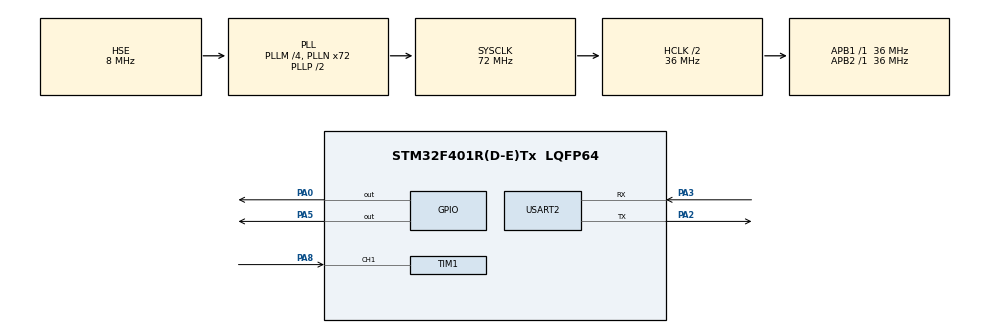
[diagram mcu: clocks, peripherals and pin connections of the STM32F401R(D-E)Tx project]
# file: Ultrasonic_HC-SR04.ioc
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Mcu.Family=STM32F4
Mcu.Name=STM32F401R(D-E)Tx
Mcu.Package=LQFP64
NVIC.PriorityGroup=NVIC_PRIORITYGROUP_4
NVIC.TIM1_CC_IRQn=true\:0\:0\:false\:false\:true\:true\:true
PA0-WKUP.Signal=GPIO_Output
PA13.Mode=Serial_Wire
PA13.Signal=SYS_JTMS-SWDIO
PA14.Mode=Serial_Wire
PA14.Signal=SYS_JTCK-SWCLK
PA2.Mode=Asynchronous
PA2.Signal=USART2_TX
PA3.Mode=Asynchronous
PA3.Signal=USART2_RX
PA5.Signal=GPIO_Output
PA8.Signal=S_TIM1_CH1
PH0\ -\ OSC_IN.Mode=HSE-External-Clock-Source
PH0\ -\ OSC_IN.Signal=RCC_OSC_IN
PH1\ -\ OSC_OUT.Mode=HSE-External-Clock-Source
PH1\ -\ OSC_OUT.Signal=RCC_OSC_OUT
ProjectManager.HeapSize=0x200
ProjectManager.StackSize=0x400
ProjectManager.TargetToolchain=STM32CubeIDE
RCC.48MHZClocksFreq_Value=36000000
RCC.AHBCLKDivider=RCC_SYSCLK_DIV2
RCC.AHBFreq_Value=36000000
RCC.APB1Freq_Value=36000000
RCC.APB1TimFreq_Value=36000000
RCC.APB2Freq_Value=36000000
RCC.APB2TimFreq_Value=36000000
RCC.CortexFreq_Value=36000000
RCC.HCLKFreq_Value=36000000
RCC.HSE_VALUE=8000000
RCC.HSI_VALUE=16000000
RCC.LSE_VALUE=32768
RCC.PLLM=4
RCC.PLLN=72
RCC.PLLSourceVirtual=RCC_PLLSOURCE_HSE
RCC.SYSCLKFreq_VALUE=72000000
RCC.SYSCLKSource=RCC_SYSCLKSOURCE_PLLCLK
RCC.VCOOutputFreq_Value=144000000
SH.S_TIM1_CH1.0=TIM1_CH1,Input_Capture1_from_TI1
TIM1.Channel-Input_Capture1_from_TI1=TIM_CHANNEL_1
TIM1.Prescaler=36
USART2.VirtualMode=VM_ASYNC
board=custom

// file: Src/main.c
/* USER CODE BEGIN Header */
/**
  ******************************************************************************
  * @file           : main.c
  * @brief          : Main program body
  ******************************************************************************
  * @attention
  *
  * <h2><center>&copy; Copyright (c) 2021 STMicroelectronics.
  * All rights reserved.</center></h2>
  *
  * This software component is licensed by ST under BSD 3-Clause license,
  * the "License"; You may not use this file except in compliance with the
  * License. You may obtain a copy of the License at:
  *                        opensource.org/licenses/BSD-3-Clause
  *
  ******************************************************************************
  */
/* USER CODE END Header */
#include "main.h"

TIM_HandleTypeDef htim1;

UART_HandleTypeDef huart2;

void SystemClock_Config(void);
static void MX_GPIO_Init(void);
static void MX_TIM1_Init(void);
static void MX_USART2_UART_Init(void);

/* USER CODE BEGIN 0 */
uint32_t IC_Val1 = 0;
uint32_t IC_Val2 = 0;
uint32_t Difference = 0;
uint8_t Is_First_Captured = 0;  // is the first value captured ?
uint8_t Distance  = 0;

#define TRIG_PIN GPIO_PIN_0
#define TRIG_PORT GPIOA

void delay(uint16_t us){
	__HAL_TIM_SET_COUNTER(&htim1,0);
	while(__HAL_TIM_GET_COUNTER(&htim1)< us);
}

// Let's write the callback function

void HAL_TIM_IC_CaptureCallback(TIM_HandleTypeDef *htim)
{
	if (htim->Channel == HAL_TIM_ACTIVE_CHANNEL_1)  // if the interrupt source is channel1
	{
		if (Is_First_Captured==0) // if the first value is not captured
		{
			IC_Val1 = HAL_TIM_ReadCapturedValue(htim, TIM_CHANNEL_1); // read the first value
			Is_First_Captured = 1;  // set the first captured as true
			// Now change the polarity to falling edge
			__HAL_TIM_SET_CAPTUREPOLARITY(htim, TIM_CHANNEL_1, TIM_INPUTCHANNELPOLARITY_FALLING);
		}

		else if (Is_First_Captured==1)   // if the first is already captured
		{
			IC_Val2 = HAL_TIM_ReadCapturedValue(htim, TIM_CHANNEL_1);  // read second value
			__HAL_TIM_SET_COUNTER(htim, 0);  // reset the counter

			if (IC_Val2 > IC_Val1)
			{
				Difference = IC_Val2-IC_Val1;
			}

			else if (IC_Val1 > IC_Val2)
			{
				Difference = (0xffff - IC_Val1) + IC_Val2;
			}

			Distance = Difference * .034/2;
			Is_First_Captured = 0; // set it back to false

			// set polarity to rising edge
			__HAL_TIM_SET_CAPTUREPOLARITY(htim, TIM_CHANNEL_1, TIM_INPUTCHANNELPOLARITY_RISING);
			__HAL_TIM_DISABLE_IT(&htim1, TIM_IT_CC1);
		}
	}
}

void HCSR04_Read (void)
{
	HAL_GPIO_WritePin(TRIG_PORT, TRIG_PIN, GPIO_PIN_SET);  // pull the TRIG pin HIGH
	delay(10);  // wait for 10 us
	HAL_GPIO_WritePin(TRIG_PORT, TRIG_PIN, GPIO_PIN_RESET);  // pull the TRIG pin low

	__HAL_TIM_ENABLE_IT(&htim1, TIM_IT_CC1);
}

uint32_t buff[10]={0};

/* USER CODE END 0 */

int main(void)
{

  /* MCU Configuration--------------------------------------------------------*/

  /* Reset of all peripherals, Initializes the Flash interface and the Systick. */
  HAL_Init();

  /* Configure the system clock */
  SystemClock_Config();

  /* Initialize all configured peripherals */
  MX_GPIO_Init();
  MX_TIM1_Init();
  MX_USART2_UART_Init();
  /* USER CODE BEGIN 2 */

  HAL_TIM_IC_Start(&htim1, TIM_CHANNEL_1);

  /* USER CODE END 2 */

  /* Infinite loop */
  while (1)
  {

    /* USER CODE BEGIN 3 */
	  HCSR04_Read();
	  HAL_Delay(1000);
	  sprintf(buff,"Dis= %d \r\n", Distance);
	  HAL_UART_Transmit(&huart2, buff, 10, 200);

	  if(Distance <= 10){
		  HAL_GPIO_TogglePin(GPIOA, GPIO_PIN_5);
		  HAL_UART_Transmit(&huart2, "LED ON bcz <10cm", 15, 200);
	  }
  }
  /* USER CODE END 3 */
}

void SystemClock_Config(void)
{
  RCC_OscInitTypeDef RCC_OscInitStruct = {0};
  RCC_ClkInitTypeDef RCC_ClkInitStruct = {0};

  /** Configure the main internal regulator output voltage
  */
  __HAL_RCC_PWR_CLK_ENABLE();
  __HAL_PWR_VOLTAGESCALING_CONFIG(PWR_REGULATOR_VOLTAGE_SCALE2);
  /** Initializes the RCC Oscillators according to the specified parameters
  * in the RCC_OscInitTypeDef structure.
  */
  RCC_OscInitStruct.OscillatorType = RCC_OSCILLATORTYPE_HSE;
  RCC_OscInitStruct.HSEState = RCC_HSE_BYPASS;
  RCC_OscInitStruct.PLL.PLLState = RCC_PLL_ON;
  RCC_OscInitStruct.PLL.PLLSource = RCC_PLLSOURCE_HSE;
  RCC_OscInitStruct.PLL.PLLM = 4;
  RCC_OscInitStruct.PLL.PLLN = 72;
  RCC_OscInitStruct.PLL.PLLP = RCC_PLLP_DIV2;
  RCC_OscInitStruct.PLL.PLLQ = 4;
  if (HAL_RCC_OscConfig(&RCC_OscInitStruct) != HAL_OK)
  {
    Error_Handler();
  }
  /** Initializes the CPU, AHB and APB buses clocks
  */
  RCC_ClkInitStruct.ClockType = RCC_CLOCKTYPE_HCLK|RCC_CLOCKTYPE_SYSCLK
                              |RCC_CLOCKTYPE_PCLK1|RCC_CLOCKTYPE_PCLK2;
  RCC_ClkInitStruct.SYSCLKSource = RCC_SYSCLKSOURCE_PLLCLK;
  RCC_ClkInitStruct.AHBCLKDivider = RCC_SYSCLK_DIV2;
  RCC_ClkInitStruct.APB1CLKDivider = RCC_HCLK_DIV1;
  RCC_ClkInitStruct.APB2CLKDivider = RCC_HCLK_DIV1;

  if (HAL_RCC_ClockConfig(&RCC_ClkInitStruct, FLASH_LATENCY_1) != HAL_OK)
  {
    Error_Handler();
  }
}

static void MX_TIM1_Init(void)
{

  TIM_MasterConfigTypeDef sMasterConfig = {0};
  TIM_IC_InitTypeDef sConfigIC = {0};

  htim1.Instance = TIM1;
  htim1.Init.Prescaler = 36;
  htim1.Init.CounterMode = TIM_COUNTERMODE_UP;
  htim1.Init.Period = 65535;
  htim1.Init.ClockDivision = TIM_CLOCKDIVISION_DIV1;
  htim1.Init.RepetitionCounter = 0;
  htim1.Init.AutoReloadPreload = TIM_AUTORELOAD_PRELOAD_DISABLE;
  if (HAL_TIM_IC_Init(&htim1) != HAL_OK)
  {
    Error_Handler();
  }
  sMasterConfig.MasterOutputTrigger = TIM_TRGO_RESET;
  sMasterConfig.MasterSlaveMode = TIM_MASTERSLAVEMODE_DISABLE;
  if (HAL_TIMEx_MasterConfigSynchronization(&htim1, &sMasterConfig) != HAL_OK)
  {
    Error_Handler();
  }
  sConfigIC.ICPolarity = TIM_INPUTCHANNELPOLARITY_RISING;
  sConfigIC.ICSelection = TIM_ICSELECTION_DIRECTTI;
  sConfigIC.ICPrescaler = TIM_ICPSC_DIV1;
  sConfigIC.ICFilter = 0;
  if (HAL_TIM_IC_ConfigChannel(&htim1, &sConfigIC, TIM_CHANNEL_1) != HAL_OK)
  {
    Error_Handler();
  }

}

static void MX_USART2_UART_Init(void)
{

  huart2.Instance = USART2;
  huart2.Init.BaudRate = 115200;
  huart2.Init.WordLength = UART_WORDLENGTH_8B;
  huart2.Init.StopBits = UART_STOPBITS_1;
  huart2.Init.Parity = UART_PARITY_NONE;
  huart2.Init.Mode = UART_MODE_TX_RX;
  huart2.Init.HwFlowCtl = UART_HWCONTROL_NONE;
  huart2.Init.OverSampling = UART_OVERSAMPLING_16;
  if (HAL_UART_Init(&huart2) != HAL_OK)
  {
    Error_Handler();
  }

}

static void MX_GPIO_Init(void)
{
  GPIO_InitTypeDef GPIO_InitStruct = {0};

  /* GPIO Ports Clock Enable */
  __HAL_RCC_GPIOH_CLK_ENABLE();
  __HAL_RCC_GPIOA_CLK_ENABLE();

  /*Configure GPIO pin Output Level */
  HAL_GPIO_WritePin(GPIOA, GPIO_PIN_0|GPIO_PIN_5, GPIO_PIN_RESET);

  /*Configure GPIO pins : PA0 PA5 */
  GPIO_InitStruct.Pin = GPIO_PIN_0|GPIO_PIN_5;
  GPIO_InitStruct.Mode = GPIO_MODE_OUTPUT_PP;
  GPIO_InitStruct.Pull = GPIO_NOPULL;
  GPIO_InitStruct.Speed = GPIO_SPEED_FREQ_LOW;
  HAL_GPIO_Init(GPIOA, &GPIO_InitStruct);

}

void Error_Handler(void)
{
  __disable_irq();
  while (1)
  {
  }
}

/************************ (C) COPYRIGHT STMicroelectronics *****END OF FILE****/
